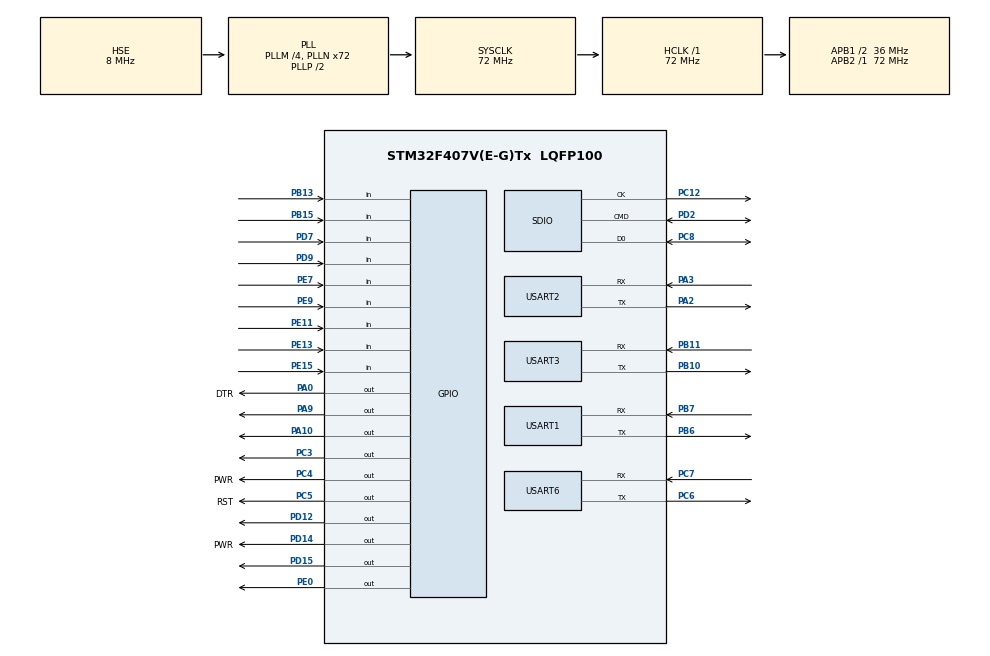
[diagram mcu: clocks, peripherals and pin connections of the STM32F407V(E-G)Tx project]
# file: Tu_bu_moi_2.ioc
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Dma.Request0=USART2_RX
Dma.Request1=USART3_RX
Dma.Request2=USART1_RX
Dma.USART1_RX.2.Direction=DMA_PERIPH_TO_MEMORY
Dma.USART1_RX.2.FIFOMode=DMA_FIFOMODE_DISABLE
Dma.USART1_RX.2.Instance=DMA2_Stream2
Dma.USART1_RX.2.MemDataAlignment=DMA_MDATAALIGN_BYTE
Dma.USART1_RX.2.MemInc=DMA_MINC_ENABLE
Dma.USART1_RX.2.Mode=DMA_NORMAL
Dma.USART1_RX.2.PeriphDataAlignment=DMA_PDATAALIGN_BYTE
Dma.USART1_RX.2.PeriphInc=DMA_PINC_DISABLE
Dma.USART1_RX.2.Priority=DMA_PRIORITY_LOW
Dma.USART2_RX.0.Direction=DMA_PERIPH_TO_MEMORY
Dma.USART2_RX.0.FIFOMode=DMA_FIFOMODE_DISABLE
Dma.USART2_RX.0.Instance=DMA1_Stream5
Dma.USART2_RX.0.MemDataAlignment=DMA_MDATAALIGN_BYTE
Dma.USART2_RX.0.MemInc=DMA_MINC_ENABLE
Dma.USART2_RX.0.Mode=DMA_NORMAL
Dma.USART2_RX.0.PeriphDataAlignment=DMA_PDATAALIGN_BYTE
Dma.USART2_RX.0.PeriphInc=DMA_PINC_DISABLE
Dma.USART2_RX.0.Priority=DMA_PRIORITY_LOW
Dma.USART3_RX.1.Direction=DMA_PERIPH_TO_MEMORY
Dma.USART3_RX.1.FIFOMode=DMA_FIFOMODE_DISABLE
Dma.USART3_RX.1.Instance=DMA1_Stream1
Dma.USART3_RX.1.MemDataAlignment=DMA_MDATAALIGN_BYTE
Dma.USART3_RX.1.MemInc=DMA_MINC_ENABLE
Dma.USART3_RX.1.Mode=DMA_NORMAL
Dma.USART3_RX.1.PeriphDataAlignment=DMA_PDATAALIGN_BYTE
Dma.USART3_RX.1.PeriphInc=DMA_PINC_DISABLE
Dma.USART3_RX.1.Priority=DMA_PRIORITY_LOW
FATFS.BSP.number=1
FATFS._MAX_SS=4096
FATFS0.BSP.STBoard=false
FATFS0.BSP.api=Unknown
FATFS0.BSP.instance=PD7
FATFS0.BSP.ip=GPIO
FATFS0.BSP.mode=Input
FATFS0.BSP.name=Detect_SDIO
FATFS0.BSP.solution=PD7
Mcu.Family=STM32F4
Mcu.Name=STM32F407V(E-G)Tx
Mcu.Package=LQFP100
NVIC.DMA1_Stream1_IRQn=true\:0\:0\:false\:false\:true\:false\:true\:true
NVIC.DMA1_Stream5_IRQn=true\:0\:0\:false\:false\:true\:false\:true\:true
NVIC.DMA2_Stream2_IRQn=true\:0\:0\:false\:false\:true\:false\:true\:true
NVIC.PriorityGroup=NVIC_PRIORITYGROUP_4
NVIC.RCC_IRQn=true\:0\:0\:false\:false\:true\:true\:false\:true
NVIC.RTC_Alarm_IRQn=true\:0\:0\:false\:false\:true\:true\:true\:true
NVIC.SDIO_IRQn=true\:0\:0\:false\:false\:true\:true\:true\:true
NVIC.USART1_IRQn=true\:0\:0\:false\:false\:true\:true\:true\:true
NVIC.USART2_IRQn=true\:0\:0\:false\:false\:true\:true\:true\:true
NVIC.USART3_IRQn=true\:0\:0\:false\:false\:true\:true\:true\:true
NVIC.USART6_IRQn=true\:0\:0\:false\:false\:true\:true\:true\:true
PA0-WKUP.GPIO_Label=DTR
PA0-WKUP.Signal=GPIO_Output
PA10.Signal=GPIO_Output
PA13.Mode=Serial_Wire
PA13.Signal=SYS_JTMS-SWDIO
PA14.Mode=Serial_Wire
PA14.Signal=SYS_JTCK-SWCLK
PA2.Mode=Asynchronous
PA2.Signal=USART2_TX
PA3.Mode=Asynchronous
PA3.Signal=USART2_RX
PA9.Signal=GPIO_Output
PB10.Mode=Asynchronous
PB10.Signal=USART3_TX
PB11.Mode=Asynchronous
PB11.Signal=USART3_RX
PB13.GPIO_PuPd=GPIO_PULLUP
PB13.Signal=GPIO_Input
PB15.GPIO_PuPd=GPIO_PULLUP
PB15.Signal=GPIO_Input
PB6.Mode=Asynchronous
PB6.Signal=USART1_TX
PB7.Mode=Asynchronous
PB7.Signal=USART1_RX
PC12.Mode=SD_1_bit
PC12.Signal=SDIO_CK
PC3.Signal=GPIO_Output
PC4.GPIO_Label=PWR
PC4.Signal=GPIO_Output
PC5.GPIO_Label=RST
PC5.Signal=GPIO_Output
PC6.Mode=Asynchronous
PC6.Signal=USART6_TX
PC7.Mode=Asynchronous
PC7.Signal=USART6_RX
PC8.Mode=SD_1_bit
PC8.Signal=SDIO_D0
PD12.Signal=GPIO_Output
PD14.GPIO_Label=PWR
PD14.Signal=GPIO_Output
PD15.Signal=GPIO_Output
PD2.Mode=SD_1_bit
PD2.Signal=SDIO_CMD
PD7.Signal=GPIO_Input
PD9.GPIO_PuPd=GPIO_PULLUP
PD9.Signal=GPIO_Input
PE0.Signal=GPIO_Output
PE11.GPIO_PuPd=GPIO_PULLUP
PE11.Signal=GPIO_Input
PE13.GPIO_PuPd=GPIO_PULLUP
PE13.Signal=GPIO_Input
PE15.GPIO_PuPd=GPIO_PULLUP
PE15.Signal=GPIO_Input
PE7.GPIO_PuPd=GPIO_PULLUP
PE7.Signal=GPIO_Input
PE9.GPIO_PuPd=GPIO_PULLUP
PE9.Signal=GPIO_Input
PH0-OSC_IN.Mode=HSE-External-Oscillator
PH0-OSC_IN.Signal=RCC_OSC_IN
PH1-OSC_OUT.Mode=HSE-External-Oscillator
PH1-OSC_OUT.Signal=RCC_OSC_OUT
ProjectManager.HeapSize=0x200
ProjectManager.StackSize=0x400
ProjectManager.TargetToolchain=STM32CubeIDE
RCC.48MHZClocksFreq_Value=48000000
RCC.AHBFreq_Value=72000000
RCC.APB1CLKDivider=RCC_HCLK_DIV2
RCC.APB1Freq_Value=36000000
RCC.APB1TimFreq_Value=72000000
RCC.APB2Freq_Value=72000000
RCC.APB2TimFreq_Value=72000000
RCC.CortexFreq_Value=72000000
RCC.HCLKFreq_Value=72000000
RCC.HSE_VALUE=8000000
RCC.HSI_VALUE=16000000
RCC.LSE_VALUE=32768
RCC.PLLM=4
RCC.PLLN=72
RCC.PLLQ=3
RCC.PLLSourceVirtual=RCC_PLLSOURCE_HSE
RCC.SYSCLKFreq_VALUE=72000000
RCC.SYSCLKSource=RCC_SYSCLKSOURCE_PLLCLK
RCC.VCOOutputFreq_Value=144000000
RTC.Alarm=RTC_ALARM_A
RTC.AlarmMaskDateWeekDay=RTC_ALARMMASK_DATEWEEKDAY
RTC.AlarmMaskHours=RTC_ALARMMASK_HOURS
RTC.AlarmMaskSeconds=RTC_ALARMMASK_SECONDS
RTC.Date=20
RTC.Format=RTC_FORMAT_BIN
RTC.Hours=20
RTC.Minutes_A=20
RTC.Month=RTC_MONTH_APRIL
RTC.WeekDay=RTC_WEEKDAY_WEDNESDAY
RTC.Year=22
USART1.VirtualMode=VM_ASYNC
USART2.VirtualMode=VM_ASYNC
USART3.VirtualMode=VM_ASYNC
USART6.VirtualMode=VM_ASYNC
VP_FATFS_VS_SDIO.Mode=SDIO
VP_RTC_VS_RTC_Activate.Mode=RTC_Enabled
VP_RTC_VS_RTC_Alarm_A_Intern.Mode=Alarm A
VP_RTC_VS_RTC_Calendar.Mode=RTC_Calendar
board=custom

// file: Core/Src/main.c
/* USER CODE BEGIN Header */
/**
 ******************************************************************************
 * @file           : main.c
 * @brief          : Main program body
 ******************************************************************************
 * @attention
 *
 * Copyright (c) 2022 STMicroelectronics.
 * All rights reserved.
 *
 * This software is licensed under terms that can be found in the LICENSE file
 * in the root directory of this software component.
 * If no LICENSE file comes with this software, it is provided AS-IS.
 *
 ******************************************************************************
 */
/* USER CODE END Header */
#include "main.h"
#include "fatfs.h"

/* USER CODE BEGIN Includes */
#include <string.h>
#include <stdio.h>
#include <stdlib.h>
#include <stdint.h>
/* USER CODE END Includes */

/* USER CODE BEGIN PTD */
#include "sim7x00.h"
#include "fota.h"
#include "flash.h"
#include "RS485.h"
/* USER CODE END PTD */

RTC_HandleTypeDef hrtc;

SD_HandleTypeDef hsd;

UART_HandleTypeDef huart1;
UART_HandleTypeDef huart2;
UART_HandleTypeDef huart3;
UART_HandleTypeDef huart6;
DMA_HandleTypeDef hdma_usart1_rx;
DMA_HandleTypeDef hdma_usart2_rx;
DMA_HandleTypeDef hdma_usart3_rx;

/* USER CODE BEGIN PV */
RTC_TimeTypeDef RTC_Time = {0};
RTC_DateTypeDef RTC_Date = {0};
RTC_TimeTypeDef sTime = {0};
RTC_DateTypeDef sDate = {0};
RTC_AlarmTypeDef sAlarm = {0};
FATFS fatfs;
FIL myfile;
FRESULT fresult;
int a = 10;
float b = 0.00123;

uint8_t buffer[50];
uint8_t recive_arr[100];
uint8_t byte_read = 0;
/* USER CODE END PV */

void SystemClock_Config(void);
static void MX_GPIO_Init(void);
static void MX_DMA_Init(void);
static void MX_USART6_UART_Init(void);
static void MX_USART2_UART_Init(void);
static void MX_USART3_UART_Init(void);
static void MX_RTC_Init(void);
static void MX_USART1_UART_Init(void);
static void MX_SDIO_SD_Init(void);
/* USER CODE BEGIN PFP */
void HAL_UARTEx_RxEventCallback(UART_HandleTypeDef *huart, uint16_t Size)
{
  SIM_RxEvent();
}
uint8_t RTC_Flag = 0;
typedef struct
{
  uint8_t Minute;
  uint8_t Second;
} Time_TypeDef; // struct th�?i gian

Time_TypeDef GetMinSec = {0};
Time_TypeDef *Timeptr = &GetMinSec;

SMS_InfoTypeDef SmsTypedef = {0};
SMS_InfoTypeDef *Smsptr = &SmsTypedef;

HTTP_InfoTypeDef httpInfo = {0};
HTTP_InfoTypeDef *httpptr = &httpInfo;

PhoneNumber_InfoTypedef phoneNumTydef = {0};
PhoneNumber_InfoTypedef *phoneNumPtr = &phoneNumTydef;

char COSF_ReceivedBuff[9];
char I_ReceivedBuff[9];
char V_ReceivedBuff[9];
char P_ReceivedBuff[9];
char Q_ReceivedBuff[9];
char AvP_ReceivedBuff[9];
char AvQ_ReceivedBuff[9];
char PE_ReceivedBuff[9];
char QE_ReceivedBuff[9];
char coil_ReceivedBuff[7];
char CON1_ReceivedBuff[9];
char BT_ReceivedBuff[9];
char F_ReceivedBuff[9];
char Temp_ReceivedBuff[9];
char RTU_CosFi[] = {0x01, 0x03, 0x01, 0x61, 0x00, 0x02, 0x94, 0x29};

char UART2_ReceivedBuff[12];

char coil[7];
char jsonBuffer[RX_LEN] = {0};
bool IN[8];
extern char phoneNumber[12];
float CosFi = 0.5;
float Current = 0.1;
float Voltage = 0.1;
float ActivePower = 10.1;
float ReactivePower = 10.2;
float Frequency = 50;
float temperature = 10.2;

uint8_t CONTACTOR1;
uint8_t CONTACTOR2;

uint16_t AvP;
uint16_t AvQ;
extern char TimeString[24];

/* USER CODE END PFP */

/* USER CODE BEGIN 0 */
void CONTACTOR_READ()
{
  IN[0] = HAL_GPIO_ReadPin(GPIOE, GPIO_PIN_7);
  IN[1] = HAL_GPIO_ReadPin(GPIOE, GPIO_PIN_9);
  IN[2] = HAL_GPIO_ReadPin(GPIOE, GPIO_PIN_11);
  IN[3] = HAL_GPIO_ReadPin(GPIOE, GPIO_PIN_13);
  IN[4] = HAL_GPIO_ReadPin(GPIOE, GPIO_PIN_15);
  IN[5] = HAL_GPIO_ReadPin(GPIOB, GPIO_PIN_13);
  IN[6] = HAL_GPIO_ReadPin(GPIOB, GPIO_PIN_15);
  IN[7] = HAL_GPIO_ReadPin(GPIOD, GPIO_PIN_9);
  CONTACTOR1 = ~((uint8_t)IN[4] << 3 | (uint8_t)IN[5] << 2 | (uint8_t)IN[6] << 1 | (uint8_t)IN[7]);
  CONTACTOR2 = ~((uint8_t)IN[0] << 3 | (uint8_t)IN[1] << 2 | (uint8_t)IN[2] << 1 | (uint8_t)IN[3]);
}
RS485Query_t m_RS485Query5 =
    {
        .slaveAddress = 0x01,
        .mbFunction = Read_HoldingRegister,
        .regAddress = 0x43,
        .regCount = 0x02};
RS485Query_t m_RS485Query2 =
    {
        .slaveAddress = 0x01,
        .mbFunction = Read_HoldingRegister,
        .regAddress = 0x03,
        .regCount = 0x02};
RS485Query_t m_RS485Query3 =
    {
        .slaveAddress = 0x01,
        .mbFunction = Read_HoldingRegister,
        .regAddress = 0x11,
        .regCount = 0x02};
RS485Query_t m_RS485Query4 =
    {
        .slaveAddress = 0x01,
        .mbFunction = Read_HoldingRegister,
        .regAddress = 0x01,
        .regCount = 0x02};
RS485Query_t m_RS485QueryP =
    {
        .slaveAddress = 0x01,
        .mbFunction = Read_HoldingRegister,
        .regAddress = 0x21,
        .regCount = 0x02};
RS485Query_t m_RS485QueryQ =
    {
        .slaveAddress = 0x01,
        .mbFunction = Read_HoldingRegister,
        .regAddress = 0x51,
        .regCount = 0x02};
RS485Query_t m_RS485QueryAvP =
    {
        .slaveAddress = 0x01,
        .mbFunction = Read_HoldingRegister,
        .regAddress = 0x23,
        .regCount = 0x02};
RS485Query_t m_RS485QueryAvQ =
    {
        .slaveAddress = 0x01,
        .mbFunction = Read_HoldingRegister,
        .regAddress = 0x53,
        .regCount = 0x02};

RS485Query_t m_RS485Query_coil =
    {
        .slaveAddress = 0x01,
        .mbFunction = Read_CoilStatus,
        .regAddress = 0x00,
        .regCount = 0x10};
RS485Query_t m_RS485Query_temp =
    {
        .slaveAddress = 0x01,
        .mbFunction = Read_HoldingRegister,
        .regAddress = 0x18D,
        .regCount = 0x02};
void Set_Time(int H, int M, int S);
void Set_Alarm(int m);
void SplitTime(Time_TypeDef *Timeptr);
void CONTACTOR_READ();
void HAL_UART_RxCpltCallback(UART_HandleTypeDef *huart);
void HAL_RTC_AlarmAEventCallback(RTC_HandleTypeDef *hrtc);
void RS485_Master_Receive(char Master_ReceivedBuff[], int length);
void HAL_UART_RxCpltCallback(UART_HandleTypeDef *huart);
void SendDataToServer();

/* USER CODE END 0 */

int main(void)
{
  /* USER CODE BEGIN 1 */
  SCB->VTOR = (uint32_t)APP1_START_ADDR;
  /* USER CODE END 1 */

  /* MCU Configuration--------------------------------------------------------*/

  /* Reset of all peripherals, Initializes the Flash interface and the Systick. */
  HAL_Init();

  /* Configure the system clock */
  SystemClock_Config();

  /* Initialize all configured peripherals */
  MX_GPIO_Init();
  MX_DMA_Init();
  MX_USART6_UART_Init();
  MX_USART2_UART_Init();
  MX_USART3_UART_Init();
  MX_RTC_Init();
  MX_USART1_UART_Init();
  MX_SDIO_SD_Init();
  MX_FATFS_Init();
  /* USER CODE BEGIN 2 */

  //SIM_Init(PWR_GPIO_Port, PWR_Pin);

  //HAL_UART_Transmit(&DEBUG_UART, (uint8_t *)"\r\nSIM_Init/102	 Connecting\r\n", 28, HAL_MAX_DELAY); // Truy�?n lệnh ATCommnd sang Sim
  //SIM_Config();
  //SIM_GetLocalTime(TimeString);
  HTTP_InfoTypeDef httpInfo = {0};

  //SIM_GetPhoneNumber(phoneNumber);
  //SplitTime(&GetMinSec);
  //Set_Time(5, Timeptr->Minute, Timeptr->Second);
  //Set_Alarm(Timeptr->Minute);

  //SIM_GetLocalTime(TimeString);
  sprintf(jsonBuffer,
          "{\"TIME\":\"%s\""
          ",\"PN\":\"%s\""
          ",\"CosFi\":\"%.2f\""
          ",\"Three-phase Equivalent Voltage\":\"%.2f\""
          ",\"Three-phase Equivalent Current\":\"%.2f\""
          ",\"Frequency\":\"%.2f\""
          ",\"ActivePowe\":\"%.2f\""
          ",\"ReactivePower\":\"%.2f\""
          ",\"Three-phase equivalent active power\":\"%d\""
          ",\"Three-phase equivalent reactive power\":\"%d\""
          ",\"CTT1\":\"%u\""
          ",\"CTT2\":\"%u\""
          ",\"CTT3\":\"%u\""
          ",\"CTT4\":\"%u\""
          ",\"Coil 1\":\"%u\""
          ",\"Coil 2\":\"%u\""
          ",\"Coil 3\":\"%u\""
          ",\"Coil 4\":\"%u\"}",
          TimeString, phoneNumber, CosFi, Voltage, Current, Frequency, ActivePower, ReactivePower,
          AvP, AvQ, (IN[0] ^ 0x01), (IN[1] ^ 0x01), (IN[2] ^ 0x01), (IN[3] ^ 0x01),
          (coil_ReceivedBuff[3] & 0x01), ((coil_ReceivedBuff[3] & 0x02) >> 1),
          ((coil_ReceivedBuff[3] & 0x04) >> 2), ((coil_ReceivedBuff[3] & 0x08) >> 3));
  //SIM_HTTP_POST(
  //   "https://capacitor-129e8-default-rtdb.firebaseio.com/testA.json",
  //    "application/json", jsonBuffer, &httpInfo);

  HAL_UART_Receive_IT(&huart2, (uint8_t *)jsonBuffer, 8);

  /* USER CODE END 2 */

  /* Infinite loop */
  /* USER CODE BEGIN WHILE */
  HAL_GPIO_WritePin(GPIOA, GPIO_PIN_9, GPIO_PIN_SET);
  HAL_GPIO_WritePin(GPIOC, GPIO_PIN_11, GPIO_PIN_SET);

  while (1)
  {
    /* USER CODE END WHILE */

    /* USER CODE BEGIN 3 */
    //SMS_process();
    SendDataToServer();
  }

  /* USER CODE END 3 */
}

void SystemClock_Config(void)
{
  RCC_OscInitTypeDef RCC_OscInitStruct = {0};
  RCC_ClkInitTypeDef RCC_ClkInitStruct = {0};

  /** Configure the main internal regulator output voltage
  */
  __HAL_RCC_PWR_CLK_ENABLE();
  __HAL_PWR_VOLTAGESCALING_CONFIG(PWR_REGULATOR_VOLTAGE_SCALE1);

  /** Initializes the RCC Oscillators according to the specified parameters
  * in the RCC_OscInitTypeDef structure.
  */
  RCC_OscInitStruct.OscillatorType = RCC_OSCILLATORTYPE_LSI|RCC_OSCILLATORTYPE_HSE;
  RCC_OscInitStruct.HSEState = RCC_HSE_ON;
  RCC_OscInitStruct.LSIState = RCC_LSI_ON;
  RCC_OscInitStruct.PLL.PLLState = RCC_PLL_ON;
  RCC_OscInitStruct.PLL.PLLSource = RCC_PLLSOURCE_HSE;
  RCC_OscInitStruct.PLL.PLLM = 4;
  RCC_OscInitStruct.PLL.PLLN = 72;
  RCC_OscInitStruct.PLL.PLLP = RCC_PLLP_DIV2;
  RCC_OscInitStruct.PLL.PLLQ = 3;
  if (HAL_RCC_OscConfig(&RCC_OscInitStruct) != HAL_OK)
  {
    Error_Handler();
  }

  /** Initializes the CPU, AHB and APB buses clocks
  */
  RCC_ClkInitStruct.ClockType = RCC_CLOCKTYPE_HCLK|RCC_CLOCKTYPE_SYSCLK
                              |RCC_CLOCKTYPE_PCLK1|RCC_CLOCKTYPE_PCLK2;
  RCC_ClkInitStruct.SYSCLKSource = RCC_SYSCLKSOURCE_PLLCLK;
  RCC_ClkInitStruct.AHBCLKDivider = RCC_SYSCLK_DIV1;
  RCC_ClkInitStruct.APB1CLKDivider = RCC_HCLK_DIV2;
  RCC_ClkInitStruct.APB2CLKDivider = RCC_HCLK_DIV1;

  if (HAL_RCC_ClockConfig(&RCC_ClkInitStruct, FLASH_LATENCY_2) != HAL_OK)
  {
    Error_Handler();
  }
}

static void MX_RTC_Init(void)
{

  RTC_TimeTypeDef sTime = {0};
  RTC_DateTypeDef sDate = {0};
  RTC_AlarmTypeDef sAlarm = {0};

  /** Initialize RTC Only
  */
  hrtc.Instance = RTC;
  hrtc.Init.HourFormat = RTC_HOURFORMAT_24;
  hrtc.Init.AsynchPrediv = 127;
  hrtc.Init.SynchPrediv = 255;
  hrtc.Init.OutPut = RTC_OUTPUT_DISABLE;
  hrtc.Init.OutPutPolarity = RTC_OUTPUT_POLARITY_HIGH;
  hrtc.Init.OutPutType = RTC_OUTPUT_TYPE_OPENDRAIN;
  if (HAL_RTC_Init(&hrtc) != HAL_OK)
  {
    Error_Handler();
  }

  /** Initialize RTC and set the Time and Date
  */
  sTime.Hours = 20;
  sTime.Minutes = 0;
  sTime.Seconds = 0;
  sTime.DayLightSaving = RTC_DAYLIGHTSAVING_NONE;
  sTime.StoreOperation = RTC_STOREOPERATION_RESET;
  if (HAL_RTC_SetTime(&hrtc, &sTime, RTC_FORMAT_BIN) != HAL_OK)
  {
    Error_Handler();
  }
  sDate.WeekDay = RTC_WEEKDAY_WEDNESDAY;
  sDate.Month = RTC_MONTH_APRIL;
  sDate.Date = 20;
  sDate.Year = 22;

  if (HAL_RTC_SetDate(&hrtc, &sDate, RTC_FORMAT_BIN) != HAL_OK)
  {
    Error_Handler();
  }

  /** Enable the Alarm A
  */
  sAlarm.AlarmTime.Hours = 0;
  sAlarm.AlarmTime.Minutes = 20;
  sAlarm.AlarmTime.Seconds = 0;
  sAlarm.AlarmTime.SubSeconds = 0;
  sAlarm.AlarmTime.DayLightSaving = RTC_DAYLIGHTSAVING_NONE;
  sAlarm.AlarmTime.StoreOperation = RTC_STOREOPERATION_RESET;
  sAlarm.AlarmMask = RTC_ALARMMASK_DATEWEEKDAY|RTC_ALARMMASK_HOURS
                              |RTC_ALARMMASK_SECONDS;
  sAlarm.AlarmSubSecondMask = RTC_ALARMSUBSECONDMASK_ALL;
  sAlarm.AlarmDateWeekDaySel = RTC_ALARMDATEWEEKDAYSEL_DATE;
  sAlarm.AlarmDateWeekDay = 1;
  sAlarm.Alarm = RTC_ALARM_A;
  if (HAL_RTC_SetAlarm_IT(&hrtc, &sAlarm, RTC_FORMAT_BIN) != HAL_OK)
  {
    Error_Handler();
  }

}

static void MX_SDIO_SD_Init(void)
{

  hsd.Instance = SDIO;
  hsd.Init.ClockEdge = SDIO_CLOCK_EDGE_RISING;
  hsd.Init.ClockBypass = SDIO_CLOCK_BYPASS_DISABLE;
  hsd.Init.ClockPowerSave = SDIO_CLOCK_POWER_SAVE_DISABLE;
  hsd.Init.BusWide = SDIO_BUS_WIDE_1B;
  hsd.Init.HardwareFlowControl = SDIO_HARDWARE_FLOW_CONTROL_DISABLE;
  hsd.Init.ClockDiv = 0;

}

static void MX_USART1_UART_Init(void)
{

  huart1.Instance = USART1;
  huart1.Init.BaudRate = 115200;
  huart1.Init.WordLength = UART_WORDLENGTH_8B;
  huart1.Init.StopBits = UART_STOPBITS_1;
  huart1.Init.Parity = UART_PARITY_NONE;
  huart1.Init.Mode = UART_MODE_TX_RX;
  huart1.Init.HwFlowCtl = UART_HWCONTROL_NONE;
  huart1.Init.OverSampling = UART_OVERSAMPLING_16;
  if (HAL_UART_Init(&huart1) != HAL_OK)
  {
    Error_Handler();
  }

}

static void MX_USART2_UART_Init(void)
{

  huart2.Instance = USART2;
  huart2.Init.BaudRate = 115200;
  huart2.Init.WordLength = UART_WORDLENGTH_8B;
  huart2.Init.StopBits = UART_STOPBITS_1;
  huart2.Init.Parity = UART_PARITY_NONE;
  huart2.Init.Mode = UART_MODE_TX_RX;
  huart2.Init.HwFlowCtl = UART_HWCONTROL_NONE;
  huart2.Init.OverSampling = UART_OVERSAMPLING_16;
  if (HAL_UART_Init(&huart2) != HAL_OK)
  {
    Error_Handler();
  }

}

static void MX_USART3_UART_Init(void)
{

  huart3.Instance = USART3;
  huart3.Init.BaudRate = 115200;
  huart3.Init.WordLength = UART_WORDLENGTH_8B;
  huart3.Init.StopBits = UART_STOPBITS_1;
  huart3.Init.Parity = UART_PARITY_NONE;
  huart3.Init.Mode = UART_MODE_TX_RX;
  huart3.Init.HwFlowCtl = UART_HWCONTROL_NONE;
  huart3.Init.OverSampling = UART_OVERSAMPLING_16;
  if (HAL_UART_Init(&huart3) != HAL_OK)
  {
    Error_Handler();
  }

}

static void MX_USART6_UART_Init(void)
{

  huart6.Instance = USART6;
  huart6.Init.BaudRate = 115200;
  huart6.Init.WordLength = UART_WORDLENGTH_8B;
  huart6.Init.StopBits = UART_STOPBITS_1;
  huart6.Init.Parity = UART_PARITY_NONE;
  huart6.Init.Mode = UART_MODE_TX_RX;
  huart6.Init.HwFlowCtl = UART_HWCONTROL_NONE;
  huart6.Init.OverSampling = UART_OVERSAMPLING_16;
  if (HAL_UART_Init(&huart6) != HAL_OK)
  {
    Error_Handler();
  }

}

static void MX_DMA_Init(void)
{

  /* DMA controller clock enable */
  __HAL_RCC_DMA1_CLK_ENABLE();
  __HAL_RCC_DMA2_CLK_ENABLE();

  /* DMA interrupt init */
  /* DMA1_Stream1_IRQn interrupt configuration */
  HAL_NVIC_SetPriority(DMA1_Stream1_IRQn, 0, 0);
  HAL_NVIC_EnableIRQ(DMA1_Stream1_IRQn);
  /* DMA1_Stream5_IRQn interrupt configuration */
  HAL_NVIC_SetPriority(DMA1_Stream5_IRQn, 0, 0);
  HAL_NVIC_EnableIRQ(DMA1_Stream5_IRQn);
  /* DMA2_Stream2_IRQn interrupt configuration */
  HAL_NVIC_SetPriority(DMA2_Stream2_IRQn, 0, 0);
  HAL_NVIC_EnableIRQ(DMA2_Stream2_IRQn);

}

static void MX_GPIO_Init(void)
{
  GPIO_InitTypeDef GPIO_InitStruct = {0};

  /* GPIO Ports Clock Enable */
  __HAL_RCC_GPIOH_CLK_ENABLE();
  __HAL_RCC_GPIOC_CLK_ENABLE();
  __HAL_RCC_GPIOA_CLK_ENABLE();
  __HAL_RCC_GPIOE_CLK_ENABLE();
  __HAL_RCC_GPIOB_CLK_ENABLE();
  __HAL_RCC_GPIOD_CLK_ENABLE();

  /*Configure GPIO pin Output Level */
  HAL_GPIO_WritePin(GPIOC, GPIO_PIN_3|PWR_Pin|RST_Pin, GPIO_PIN_RESET);

  /*Configure GPIO pin Output Level */
  HAL_GPIO_WritePin(GPIOA, DTR_Pin|GPIO_PIN_9|GPIO_PIN_10, GPIO_PIN_RESET);

  /*Configure GPIO pin Output Level */
  HAL_GPIO_WritePin(GPIOD, GPIO_PIN_12|PWRD14_Pin|GPIO_PIN_15, GPIO_PIN_RESET);

  /*Configure GPIO pin Output Level */
  HAL_GPIO_WritePin(GPIOE, GPIO_PIN_0, GPIO_PIN_RESET);

  /*Configure GPIO pins : PC3 PWR_Pin RST_Pin */
  GPIO_InitStruct.Pin = GPIO_PIN_3|PWR_Pin|RST_Pin;
  GPIO_InitStruct.Mode = GPIO_MODE_OUTPUT_PP;
  GPIO_InitStruct.Pull = GPIO_NOPULL;
  GPIO_InitStruct.Speed = GPIO_SPEED_FREQ_LOW;
  HAL_GPIO_Init(GPIOC, &GPIO_InitStruct);

  /*Configure GPIO pins : DTR_Pin PA9 PA10 */
  GPIO_InitStruct.Pin = DTR_Pin|GPIO_PIN_9|GPIO_PIN_10;
  GPIO_InitStruct.Mode = GPIO_MODE_OUTPUT_PP;
  GPIO_InitStruct.Pull = GPIO_NOPULL;
  GPIO_InitStruct.Speed = GPIO_SPEED_FREQ_LOW;
  HAL_GPIO_Init(GPIOA, &GPIO_InitStruct);

  /*Configure GPIO pins : PE7 PE9 PE11 PE13
                           PE15 */
  GPIO_InitStruct.Pin = GPIO_PIN_7|GPIO_PIN_9|GPIO_PIN_11|GPIO_PIN_13
                          |GPIO_PIN_15;
  GPIO_InitStruct.Mode = GPIO_MODE_INPUT;
  GPIO_InitStruct.Pull = GPIO_PULLUP;
  HAL_GPIO_Init(GPIOE, &GPIO_InitStruct);

  /*Configure GPIO pins : PB13 PB15 */
  GPIO_InitStruct.Pin = GPIO_PIN_13|GPIO_PIN_15;
  GPIO_InitStruct.Mode = GPIO_MODE_INPUT;
  GPIO_InitStruct.Pull = GPIO_PULLUP;
  HAL_GPIO_Init(GPIOB, &GPIO_InitStruct);

  /*Configure GPIO pin : PD9 */
  GPIO_InitStruct.Pin = GPIO_PIN_9;
  GPIO_InitStruct.Mode = GPIO_MODE_INPUT;
  GPIO_InitStruct.Pull = GPIO_PULLUP;
  HAL_GPIO_Init(GPIOD, &GPIO_InitStruct);

  /*Configure GPIO pins : PD12 PWRD14_Pin PD15 */
  GPIO_InitStruct.Pin = GPIO_PIN_12|PWRD14_Pin|GPIO_PIN_15;
  GPIO_InitStruct.Mode = GPIO_MODE_OUTPUT_PP;
  GPIO_InitStruct.Pull = GPIO_NOPULL;
  GPIO_InitStruct.Speed = GPIO_SPEED_FREQ_LOW;
  HAL_GPIO_Init(GPIOD, &GPIO_InitStruct);

  /*Configure GPIO pin : PD7 */
  GPIO_InitStruct.Pin = GPIO_PIN_7;
  GPIO_InitStruct.Mode = GPIO_MODE_INPUT;
  GPIO_InitStruct.Pull = GPIO_NOPULL;
  HAL_GPIO_Init(GPIOD, &GPIO_InitStruct);

  /*Configure GPIO pin : PE0 */
  GPIO_InitStruct.Pin = GPIO_PIN_0;
  GPIO_InitStruct.Mode = GPIO_MODE_OUTPUT_PP;
  GPIO_InitStruct.Pull = GPIO_NOPULL;
  GPIO_InitStruct.Speed = GPIO_SPEED_FREQ_LOW;
  HAL_GPIO_Init(GPIOE, &GPIO_InitStruct);

}

/* USER CODE BEGIN 4 */
void SplitTime(Time_TypeDef *Timeptr)
{
  char *p = NULL;
  char *q = NULL;
  SIM_GetLocalTime(TimeString);
  p = strtok(TimeString, "/");
  p = strtok(NULL, "/");
  p = strtok(NULL, ",");
  p = strtok(NULL, ":");
  q = strtok(NULL, ":");
  Timeptr->Minute = atoi(q);
  p = strtok(NULL, ":");
  Timeptr->Second = atoi(p);
}
void HAL_UART_RxCpltCallback(UART_HandleTypeDef *huart)
{
  if (huart->Instance == huart2.Instance)
  {
    HAL_UART_Receive_IT(&huart2, (uint8_t *)UART2_ReceivedBuff, 8);
  }
}
void SendDataToServer()
{
  //if (RTC_Flag == true)
  {
    //SplitTime(&GetMinSec);
    //if (Timeptr->Minute % 10 == 0)
    {
      //SIM_GetLocalTime(TimeString);
      // Case 1:
      HAL_UART_Transmit(&huart6, (uint8_t *)RTU_CosFi, 8, 1000);
      RS485_Master_Receive(COSF_ReceivedBuff, 9);
      CosFi = (float)(((uint16_t)COSF_ReceivedBuff[5] << 8) | ((uint16_t)COSF_ReceivedBuff[6])) / 100;
      HAL_Delay(500);
      // Case 2:
      RS485_transmit(&huart6, m_RS485Query2);
      RS485_Master_Receive(V_ReceivedBuff, 9);
      Voltage = (float)(((uint16_t)V_ReceivedBuff[5] << 8) | ((uint16_t)V_ReceivedBuff[6]));
      HAL_Delay(500);
      // Case 3:
      RS485_transmit(&huart6, m_RS485Query3);
      RS485_Master_Receive(I_ReceivedBuff, 9);
      Current = (float)(((uint16_t)I_ReceivedBuff[5] << 8) | ((uint16_t)I_ReceivedBuff[6])) / 100;
      HAL_Delay(500);
      // Case 4:
      RS485_transmit(&huart6, m_RS485Query4);
      RS485_Master_Receive(F_ReceivedBuff, 9);
      Frequency = (float)(((uint16_t)F_ReceivedBuff[5] << 8) | ((uint16_t)F_ReceivedBuff[6])) / 10;
      HAL_Delay(500);
      // Case 5:
      RS485_transmit(&huart6, m_RS485QueryAvQ);
      RS485_Master_Receive(AvQ_ReceivedBuff, 9);
      AvQ = ((uint16_t)AvQ_ReceivedBuff[5] << 8) | ((uint16_t)AvQ_ReceivedBuff[6]);
      HAL_Delay(500);
      // Case 5:
      RS485_transmit(&huart6, m_RS485QueryP);
      RS485_Master_Receive(P_ReceivedBuff, 9);
      ActivePower = (((uint16_t)P_ReceivedBuff[5] << 8) | ((uint16_t)P_ReceivedBuff[6])) / 1000;
      HAL_Delay(500);
      // Case 7:
      RS485_transmit(&huart6, m_RS485QueryQ);
      RS485_Master_Receive(Q_ReceivedBuff, 9);
      ReactivePower = (((uint16_t)Q_ReceivedBuff[5] << 8) | ((uint16_t)Q_ReceivedBuff[6])) / 1000;
      HAL_Delay(500);
      // Case 8:
      RS485_transmit(&huart6, m_RS485QueryAvP);
      RS485_Master_Receive(AvP_ReceivedBuff, 9);
      AvP = ((uint16_t)AvP_ReceivedBuff[5] << 8) | ((uint16_t)AvP_ReceivedBuff[6]);
      HAL_Delay(500);
      ////Case 9:
      CONTACTOR_READ();
      RS485_transmit(&huart6, m_RS485Query_coil);
      RS485_Master_Receive(coil_ReceivedBuff, 7);
      HAL_Delay(500);
      //		Case 10:
      //SIM_GetLocalTime(TimeString);
      //		printf("CosFi: %.2f\n", CosFi);
      //		printf("Voltage: %.2f\n", Voltage);
      //		printf("Current: %.2f\n", Current);
      //		printf("Frequency: %.2f\n", Frequency);
      //		printf("ActivePower(P): %.2f\n", ActivePower);
      //		printf("ReactivePower(Q): %.2f\n", ReactivePower);
      //		printf("Three-phase equivalent active power(AvP): %d\n", AvP);
      //		printf("Average equivalent reactive power(AvQ): %d\n\n", AvQ);
      //
      //		printf("Contactor1: %u\n", (IN[0]^0x01));
      //		printf("Contactor2: %u\n", (IN[1]^0x01));
      //		printf("Contactor3: %u\n", (IN[2]^0x01));
      //		printf("Contactor4: %u\n\n", (IN[3]^0x01));
      //
      //		printf("Coil 1: %u\n", (coil_ReceivedBuff[3] &	 0x01));
      //		printf("Coil 2: %u\n", ((coil_ReceivedBuff[3] & 0x02)>>1));
      //		printf("Coil 3: %u\n", ((coil_ReceivedBuff[3] & 0x04)>>2));
      //		printf("Coil 4: %u\n\n", ((coil_ReceivedBuff[3] & 0x08)>>3));
      //		printf("\n");
      sprintf(jsonBuffer,
              "{\"TIME\":\"%s\""
              ",\"PN\":\"%s\""
              ",\"CosFi\":\"%.2f\""
              ",\"Three-phase Equivalent Voltage\":\"%.2f\""
              ",\"Three-phase Equivalent Current\":\"%.2f\""
              ",\"Frequency\":\"%.2f\""
              ",\"ActivePowe\":\"%.2f\""
              ",\"ReactivePower\":\"%.2f\""
              ",\"Three-phase equivalent active power\":\"%d\""
              ",\"Three-phase equivalent reactive power\":\"%d\""
              ",\"CTT1\":\"%u\""
              ",\"CTT2\":\"%u\""
              ",\"CTT3\":\"%u\""
              ",\"CTT4\":\"%u\""
              ",\"Coil 1\":\"%u\""
              ",\"Coil 2\":\"%u\""
              ",\"Coil 3\":\"%u\""
              ",\"Coil 4\":\"%u\"}",
              TimeString, phoneNumber, CosFi, Voltage, Current, Frequency, ActivePower, ReactivePower,
              AvP, AvQ, (IN[0] ^ 0x01), (IN[1] ^ 0x01), (IN[2] ^ 0x01), (IN[3] ^ 0x01),
              (coil_ReceivedBuff[3] & 0x01), ((coil_ReceivedBuff[3] & 0x02) >> 1),
              ((coil_ReceivedBuff[3] & 0x04) >> 2), ((coil_ReceivedBuff[3] & 0x08) >> 3));
//      SIM_HTTP_POST(
//          "https://capacitor-129e8-default-rtdb.firebaseio.com/testA.json",
//          "application/json", jsonBuffer, &httpInfo);
      HAL_Delay(120000);
//      SplitTime(&GetMinSec);
//      Set_Time(5, Timeptr->Minute, Timeptr->Second);
//      Set_Alarm(Timeptr->Minute);
    }
  }
  RTC_Flag = false;
}

void Set_Alarm(int m)
{
  if (m % 10 == 0)
  {
    m = m + 10;
  }
  if (m == 60)
  {
    m = 0;
  }
  if ((m >= 1) && (m <= 9))
  {
    m = 10;
  }
  if ((m >= 11) && (m <= 19))
  {
    m = 20;
  }
  if ((m >= 21) && (m <= 29))
  {
    m = 30;
  }
  if ((m >= 31) && (m <= 39))
  {
    m = 40;
  }
  if ((m >= 41) && (m <= 49))
  {
    m = 50;
  }
  if ((m >= 51) && (m <= 59))
  {
    m = 0;
  }
  /** Enable the Alarm A
   */
  sAlarm.AlarmTime.Hours = 0;
  sAlarm.AlarmTime.Minutes = m;
  sAlarm.AlarmTime.Seconds = 0;
  sAlarm.AlarmTime.SubSeconds = 0;
  sAlarm.AlarmTime.DayLightSaving = RTC_DAYLIGHTSAVING_NONE;
  sAlarm.AlarmTime.StoreOperation = RTC_STOREOPERATION_RESET;
  sAlarm.AlarmMask = RTC_ALARMMASK_DATEWEEKDAY | RTC_ALARMMASK_HOURS | RTC_ALARMMASK_SECONDS;
  sAlarm.AlarmSubSecondMask = RTC_ALARMSUBSECONDMASK_ALL;
  sAlarm.AlarmDateWeekDaySel = RTC_ALARMDATEWEEKDAYSEL_DATE;
  sAlarm.AlarmDateWeekDay = 1;
  sAlarm.Alarm = RTC_ALARM_A;
  if (HAL_RTC_SetAlarm_IT(&hrtc, &sAlarm, RTC_FORMAT_BIN) != HAL_OK)
  {
    Error_Handler();
  }
}

void Set_Time(int H, int M, int S)
{
  sTime.Hours = H;
  sTime.Minutes = M;
  sTime.Seconds = S;
  sTime.DayLightSaving = RTC_DAYLIGHTSAVING_NONE;
  sTime.StoreOperation = RTC_STOREOPERATION_RESET;
  if (HAL_RTC_SetTime(&hrtc, &sTime, RTC_FORMAT_BIN) != HAL_OK)
  {
    Error_Handler();
  }
  sDate.WeekDay = RTC_WEEKDAY_WEDNESDAY;
  sDate.Month = RTC_MONTH_APRIL;
  sDate.Date = 5;
  sDate.Year = 5;
  if (HAL_RTC_SetDate(&hrtc, &sDate, RTC_FORMAT_BIN) != HAL_OK)
  {
    Error_Handler();
  }
}

void HAL_RTC_AlarmAEventCallback(RTC_HandleTypeDef *hrtc)
{
  //	if(RTC_Flag == 0)
  //	{
  //		RTC_Flag = 1;
  //	}
  RTC_Flag = true;
}

#ifdef __GNUC__
#define PUTCHAR_PROTOPYTE int __io_putchar(int ch)
#else
#define PUTCHAR_PROTOPYTE int fputc(int ch, FILE *f)
#endif
PUTCHAR_PROTOPYTE
{
  HAL_UART_Transmit(&DEBUG_UART, (uint8_t *)&ch, 1, 0xFFFF);
  return ch;
}
/* USER CODE END 4 */

void Error_Handler(void)
{
}
